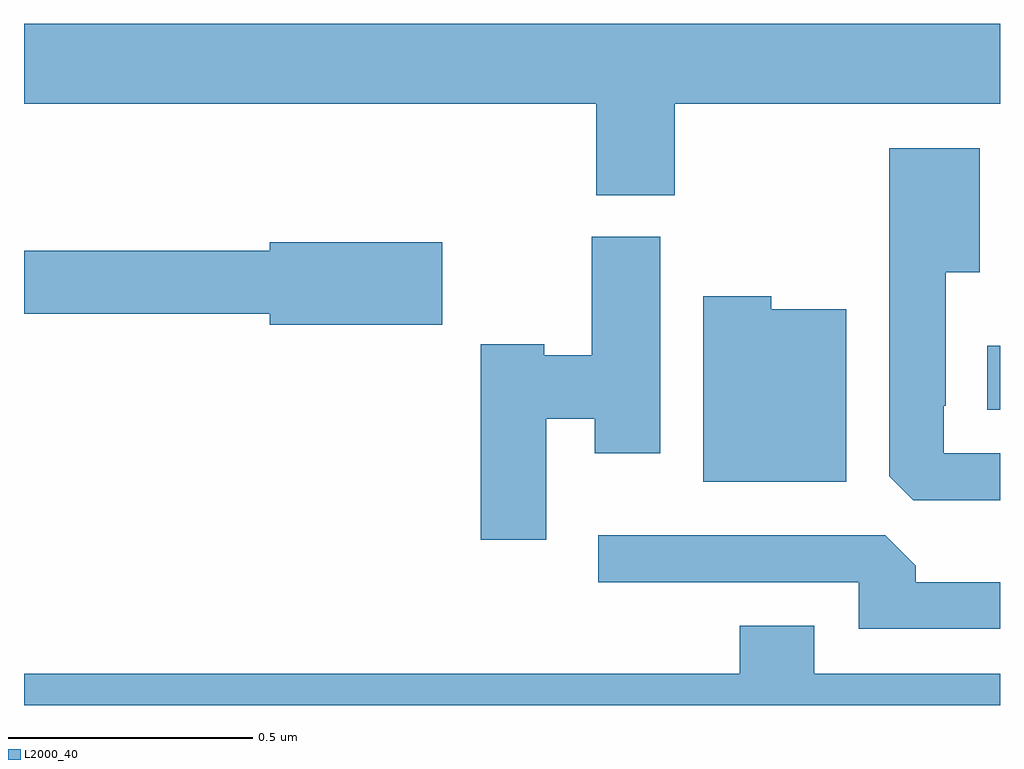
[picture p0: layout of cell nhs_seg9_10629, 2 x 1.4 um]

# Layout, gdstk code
import gdstk
lib = gdstk.Library(unit=1e-6, precision=1e-09)
def R(c, l, rs):  # rectangles x0, y0, x1, y1
    for r in rs: c.add(gdstk.rectangle(r[:2], r[2:], *l))
def P(c, l, *ps):  # polygons
    for p in ps: c.add(gdstk.Polygon(p, *l))
L2000_40 = (2000, 40)

nhs_seg9_10629 = lib.new_cell('nhs_seg9_10629')
R(nhs_seg9_10629, L2000_40, [(246.974,1217.105,247,1217.236)])
P(nhs_seg9_10629, L2000_40, [(246.333,1217.732),(247,1217.732),(247,1217.896),(245,1217.896),(245,1217.732),(246.173,1217.732),(246.173,1217.545),(246.333,1217.545)],
  [(247,1217.016),(246.885,1217.016),(246.885,1217.113),(246.889,1217.113),(246.889,1217.387),(246.958,1217.387),(246.958,1217.641),(246.773,1217.641),(246.773,1216.969),(246.822,1216.92),(247,1216.92)],
  [(246.07,1217.087),(246.17,1217.087),(246.17,1217.016),(246.304,1217.016),(246.304,1217.46),(246.163,1217.46),(246.163,1217.217),(246.066,1217.217),(246.066,1217.24),(245.936,1217.24),(245.936,1216.839),(246.07,1216.839)],
  [(245.857,1217.449),(245.504,1217.449),(245.504,1217.431),(245,1217.431),(245,1217.302),(245.504,1217.302),(245.504,1217.279),(245.857,1217.279)],
  [(246.685,1217.311),(246.531,1217.311),(246.531,1217.338),(246.392,1217.338),(246.392,1216.958),(246.685,1216.958)],
  [(247,1216.752),(246.827,1216.752),(246.827,1216.786),(246.765,1216.848),(246.177,1216.848),(246.177,1216.752),(246.711,1216.752),(246.711,1216.656),(247,1216.656)],
  [(247,1216.564),(246.619,1216.564),(246.619,1216.663),(246.467,1216.663),(246.467,1216.564),(245,1216.564),(245,1216.5),(247,1216.5)])

lib.write_gds('nhs_seg9_10629.gds')
